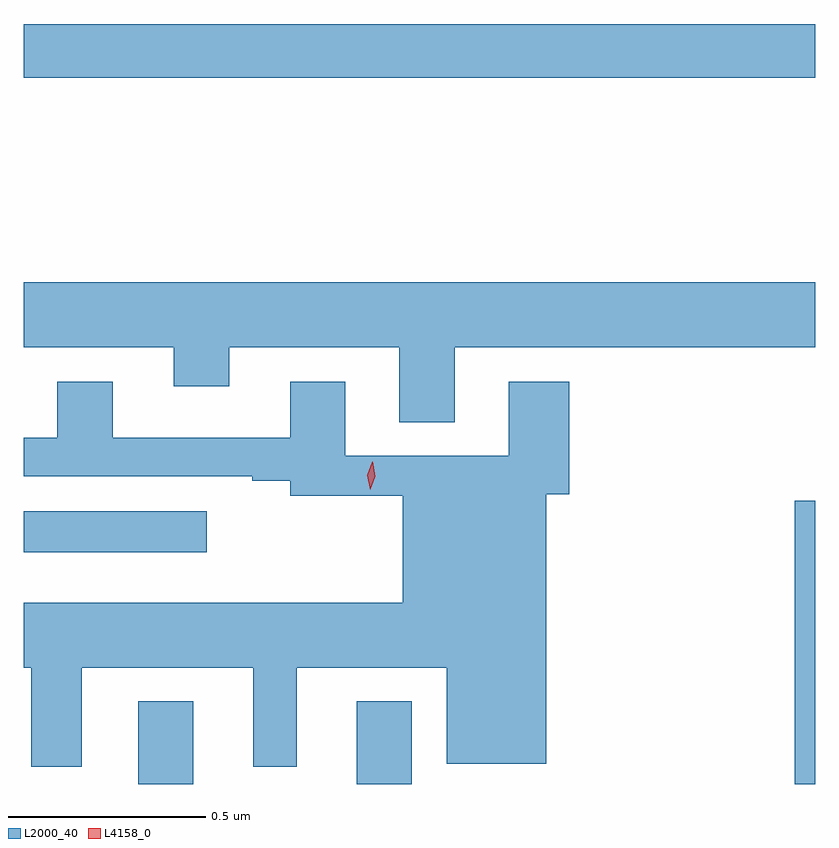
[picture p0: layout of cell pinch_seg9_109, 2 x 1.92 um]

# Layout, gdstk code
import gdstk
lib = gdstk.Library(unit=1e-6, precision=1e-09)
def R(c, l, rs):  # rectangles x0, y0, x1, y1
    for r in rs: c.add(gdstk.rectangle(r[:2], r[2:], *l))
def P(c, l, *ps):  # polygons
    for p in ps: c.add(gdstk.Polygon(p, *l))
L2000_40 = (2000, 40)
L4158_0 = (4158, 0)

pinch_seg9_109 = lib.new_cell('pinch_seg9_109')
R(pinch_seg9_109, L2000_40, [(1067.909,1172.672,1068.049,1172.881), (1068.461,1172.672,1068.601,1172.881), (1069.568,1172.672,1069.62,1173.388), (1067.62,1173.257,1068.082,1173.361), (1067.62,1174.456,1069.62,1174.592)])
P(pinch_seg9_109, L2000_40, [(1068.709,1173.776),(1069.62,1173.776),(1069.62,1173.94),(1067.62,1173.94),(1067.62,1173.776),(1067.999,1173.776),(1067.999,1173.677),(1068.139,1173.677),(1068.139,1173.776),(1068.569,1173.776),(1068.569,1173.586),(1068.709,1173.586)],
  [(1067.767,1172.966),(1068.2,1172.966),(1068.2,1172.715),(1068.31,1172.715),(1068.31,1172.966),(1068.689,1172.966),(1068.689,1172.723),(1068.94,1172.723),(1068.94,1173.404),(1068.998,1173.404),(1068.998,1173.688),(1068.845,1173.688),(1068.845,1173.501),(1068.433,1173.501),(1068.433,1173.688),(1068.293,1173.688),(1068.293,1173.547),(1067.845,1173.547),(1067.845,1173.688),(1067.705,1173.688),(1067.705,1173.547),(1067.62,1173.547),(1067.62,1173.45),(1068.197,1173.45),(1068.197,1173.438),(1068.293,1173.438),(1068.293,1173.4),(1068.578,1173.4),(1068.578,1173.13),(1067.62,1173.13),(1067.62,1172.966),(1067.639,1172.966),(1067.639,1172.715),(1067.767,1172.715)])
P(pinch_seg9_109, L4158_0, [(1068.495,1173.415),(1068.495,1173.416),(1068.488,1173.452),(1068.501,1173.486),(1068.502,1173.486),(1068.502,1173.486),(1068.508,1173.45),(1068.495,1173.416)])

lib.write_gds('pinch_seg9_109.gds')
